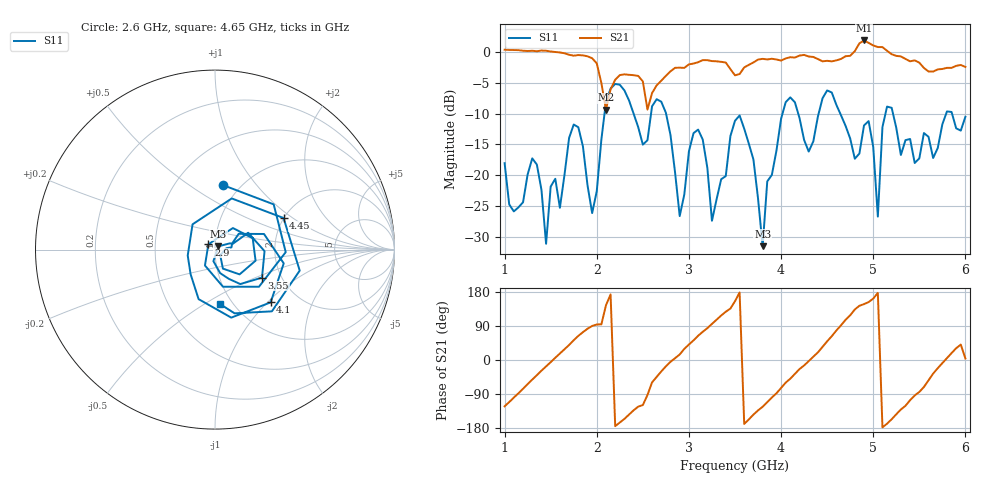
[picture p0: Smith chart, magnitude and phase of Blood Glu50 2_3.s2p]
! NanoVNA-App
! Date: 2024-03-20 21:02:38
! Start: 1GHz Stop: 6GHz Points: 101
! S-Parameter data: F S11 S21 S12 S22
# Hz S RI R 50
!	Frequency	S11_Real	S11_Imag	S21_Real	S21_Imag	S12_Real	S12_Imag	S22_Real	S22_Imag
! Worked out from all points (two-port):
!   101 points, 1 GHz to 6 GHz, reference 50 ohm
!   highest |S21| = 1.83 dB at 4.9 GHz (marker M1); lowest = -9.4 dB at 2.1 GHz (marker M2)
!   |S21| within 3 dB of the highest: start of sweep to 1.957 GHz; 4.649 GHz to 5.351 GHz (702 MHz wide, 14 % of centre) (the widest 2 of 5)
!   lowest |S11| = -31.5 dB at 3.8 GHz (marker M3), VSWR 1.05, Z = 51.9 + j1.9 ohm
!   |S11| at or under -10 dB: start of sweep to 2.084 GHz; 2.752 GHz to 4.016 GHz (1.264 GHz wide, 37.4 % of centre); 5.214 GHz to 5.792 GHz (577.6 MHz wide, 10.5 % of centre) (the widest 3 of 7)
!   S12 and S22 are empty: the file has one direction only
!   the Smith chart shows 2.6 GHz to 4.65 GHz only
!   S11 on the Smith chart (normalised r, x): 2.6 GHz: 0.84, +0.69; 2.9 GHz: 0.93, +0.05; 3.55 GHz: 1.59, -0.55; 4.1 GHz: 1.45, -1.05; 4.45 GHz: 1.99, +0.85; 4.65 GHz: 0.88, -0.59
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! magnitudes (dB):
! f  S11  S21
! 1 GHz  -18.0  0.3
! 1.35 GHz  -18.3  0.1
! 1.45 GHz  -31.1  0.2
! 1.85 GHz  -15.3  -0.6
! 1.95 GHz  -26.1  -1.1
! 2.1 GHz  -8.1  -9.4
! 2.6 GHz  -8.8  -6.7
! 2.7 GHz  -8.1  -4.7
! 2.9 GHz  -26.6  -2.6
! 3.1 GHz  -12.6  -1.7
! 3.25 GHz  -27.4  -1.5
! 3.5 GHz  -11.2  -3.8
! 3.55 GHz  -10.3  -3.6
! 3.8 GHz  -31.5  -1.1
! 4.1 GHz  -7.4  -0.9
! 4.35 GHz  -14.5  -0.8
! 4.45 GHz  -7.5  -1.5
! 4.65 GHz  -10.3  -1.2
! 4.9 GHz  -11.9  1.8
! 5.05 GHz  -26.7  0.8
! 5.2 GHz  -9.1  -0.4
! 6 GHz  -10.5  -2.5
